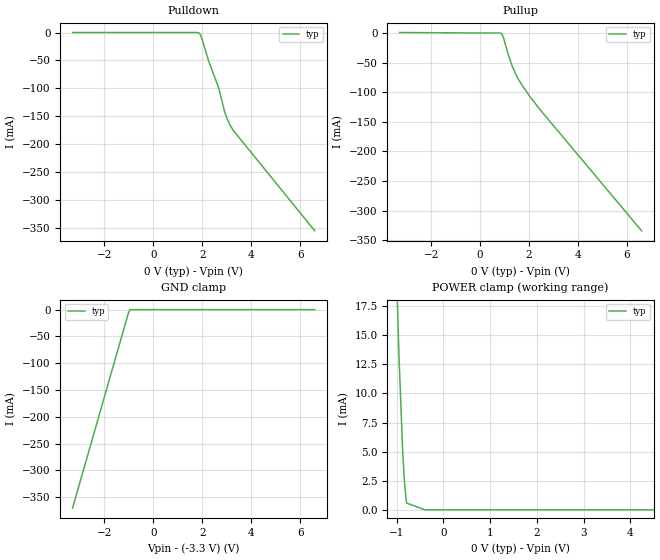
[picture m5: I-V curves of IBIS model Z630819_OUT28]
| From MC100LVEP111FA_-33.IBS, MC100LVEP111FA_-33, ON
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| (C) COPYRIGHT 1993-2000
| MENTOR GRAPHICS CORPORATION
| ICX STANDARD LIBRARY, ICX PROJECT MODELING,
| ICX CUSTOM MODELING, ICX VENDOR MODEL
| ALL RIGHTS RESERVED.
| THE FOLLOWING ARE TRADEMARKS OR SERVICE MARKS OF
| MENTOR GRAPHICS CORPORATION:ICX (R), ICX STANDARD
| LIBRARY(R), ICX PROJECT MODELING(R), ICX CUSTOM
| MODELING(R), qualityIBIS(TM), MODELVIEWER(TM),
| AND MODELEDITOR(TM)
| ALL COPIES OF SOFTWARE, INCLUDING BUT NOT LIMITED TO
| ANY MODIFICATIONS, ENHANCEMENTS OR DERIVATIVE WORKS,
| MUST CONTAIN ALL MENTOR GRAPHICS CORPORATION'S
| NOTICES AND LEGENDS, INCLUDING THOSE EMBEDDED IN
| SOFTWARE AND THOSE AFFIXED TO SOFTWARE MEDIUM
| AND CONTAINER, AS RECEIVED FROM MENTOR GRAPHICS
| CORPORATION.
| Model Application Version 1.89 2/18/99.
[Model] Z630819_OUT28
Model_type Output_ECL
Vref=-2.000V
Rref=50.00ohms
Cref=0.000F
Vmeas=-1.420V
C_comp 2.000pF NA NA
| variable typ   min   max
[Voltage Range] -3.300V NA NA
[POWER Clamp Reference] 0.000V NA NA
[Pullup Reference] 0.000V NA NA
[Pulldown Reference] 0.000V NA NA
[GND Clamp Reference] -3.300V NA NA
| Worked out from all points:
|   GND clamp passes 1 mA (typ) near -0.96 V on its own axis
|   POWER clamp passes 1 mA (typ) near -0.80 V on its own axis
[GND Clamp]
-3.3V     -370.4mA   NA         NA
-1.014V   -5.992mA   NA         NA
-953mV    -84.65uA   NA         NA
-714.8mV  0A         NA         NA
6.6V      0A         NA         NA
[Pulldown]
-3.3V     0A         NA         NA
1.861V    -600uA     NA         NA
1.922V    -3.4mA     NA         NA
2.003V    -13.1mA    NA         NA
2.266V    -51.7mA    NA         NA
2.672V    -98.8mA    NA         NA
2.915V    -141.8mA   NA         NA
3.016V    -154mA     NA         NA
3.138V    -165.8mA   NA         NA
3.28V     -175.8mA   NA         NA
6.6V      -355mA     NA         NA
[Pullup]
-3.3V     871.3uA    NA         NA
771mV     0A         NA         NA
893mV     -2.2mA     NA         NA
954mV     -7.9mA     NA         NA
1.136V    -34.4mA    NA         NA
1.318V    -57.1mA    NA         NA
1.521V    -75.4mA    NA         NA
2.048V    -108.2mA   NA         NA
2.413V    -127.8mA   NA         NA
6.6V      -334.4mA   NA         NA
[POWER Clamp]
-3.3V     398.4mA    NA         NA
-1.073V   30.21mA    NA         NA
-952mV    13.35mA    NA         NA
-871mV    4.968mA    NA         NA
-830mV    2.179mA    NA         NA
-790mV    589.2uA    NA         NA
-395mV    0A         NA         NA
6.6V      0A         NA         NA
[Ramp]
| variable typ min max
dV/dt_r 479.4m/202p NA NA
dV/dt_f 479.4m/194p NA NA
R_load = 50.00Ohms
